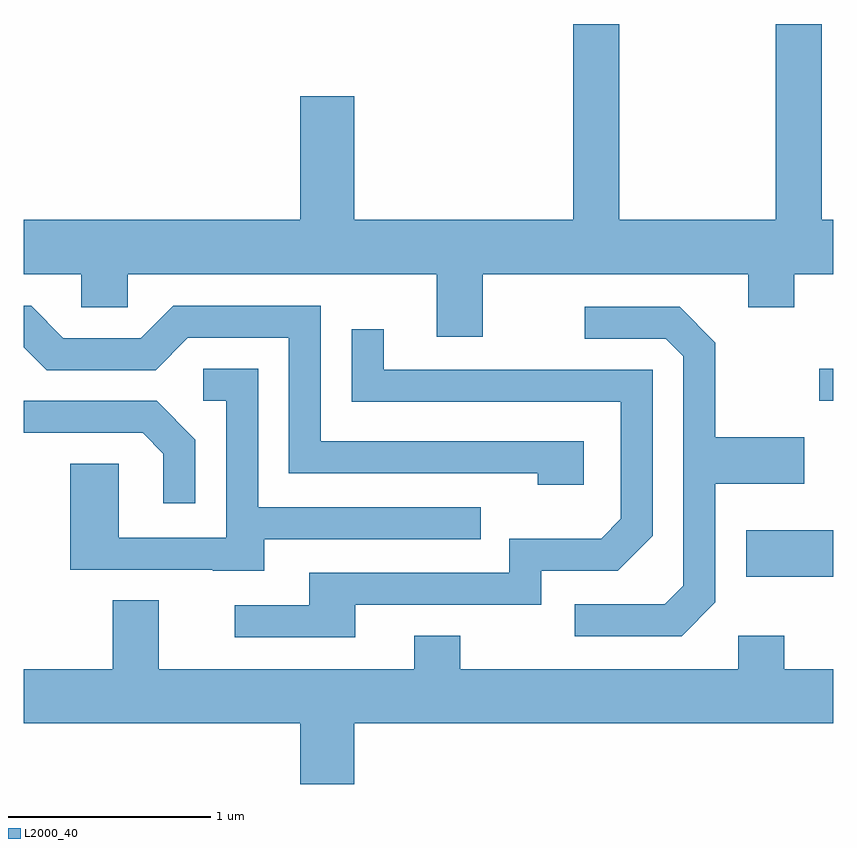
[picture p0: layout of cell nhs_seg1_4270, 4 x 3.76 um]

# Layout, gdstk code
import gdstk
lib = gdstk.Library(unit=1e-6, precision=1e-09)
def R(c, l, rs):  # rectangles x0, y0, x1, y1
    for r in rs: c.add(gdstk.rectangle(r[:2], r[2:], *l))
def P(c, l, *ps):  # polygons
    for p in ps: c.add(gdstk.Polygon(p, *l))
L2000_40 = (2000, 40)

nhs_seg1_4270 = lib.new_cell('nhs_seg1_4270')
R(nhs_seg1_4270, L2000_40, [(317.181,886.981,317.611,887.209), (317.543,887.851,317.611,888.009)])
P(nhs_seg1_4270, L2000_40, [(315.879,888.476),(317.191,888.476),(317.191,888.311),(317.419,888.311),(317.419,888.476),(317.611,888.476),(317.611,888.744),(317.554,888.744),(317.554,889.712),(317.326,889.712),(317.326,888.744),(316.554,888.744),(316.554,889.712),(316.326,889.712),(316.326,888.744),(315.244,888.744),(315.244,889.354),(314.976,889.354),(314.976,888.744),(313.611,888.744),(313.611,888.476),(313.896,888.476),(313.896,888.311),(314.124,888.311),(314.124,888.476),(315.651,888.476),(315.651,888.166),(315.879,888.166)],
  [(316.379,887.649),(315.079,887.649),(315.079,888.319),(314.349,888.319),(314.189,888.159),(313.807,888.159),(313.647,888.319),(313.611,888.319),(313.611,888.114),(313.724,888.001),(314.262,888.001),(314.422,888.161),(314.921,888.161),(314.921,887.491),(316.151,887.491),(316.151,887.436),(316.379,887.436)],
  [(317.029,886.854),(317.029,887.441),(317.469,887.441),(317.469,887.669),(317.029,887.669),(317.029,888.137),(316.852,888.314),(316.383,888.314),(316.383,888.156),(316.784,888.156),(316.871,888.069),(316.871,886.937),(316.779,886.844),(316.333,886.844),(316.333,886.686),(316.862,886.686)],
  [(315.249,886.841),(316.169,886.841),(316.169,887.011),(316.547,887.011),(316.719,887.184),(316.719,888.004),(315.389,888.004),(315.389,888.203),(315.231,888.203),(315.231,887.846),(316.561,887.846),(316.561,887.267),(316.464,887.169),(316.011,887.169),(316.011,886.999),(315.021,886.999),(315.021,886.839),(314.653,886.839),(314.653,886.681),(315.249,886.681)],
  [(314.799,887.166),(315.868,887.166),(315.868,887.324),(314.769,887.324),(314.769,888.009),(314.498,888.009),(314.498,887.851),(314.611,887.851),(314.611,887.174),(314.079,887.174),(314.079,887.539),(313.841,887.539),(313.841,887.016),(314.545,887.016),(314.545,887.011),(314.799,887.011)],
  [(314.459,887.657),(314.267,887.849),(313.611,887.849),(313.611,887.691),(314.199,887.691),(314.301,887.589),(314.301,887.343),(314.459,887.343)],
  [(315.244,886.256),(317.611,886.256),(317.611,886.524),(317.369,886.524),(317.369,886.689),(317.141,886.689),(317.141,886.524),(315.769,886.524),(315.769,886.689),(315.541,886.689),(315.541,886.524),(314.279,886.524),(314.279,886.864),(314.051,886.864),(314.051,886.524),(313.611,886.524),(313.611,886.256),(314.976,886.256),(314.976,885.956),(315.244,885.956)])

lib.write_gds('nhs_seg1_4270.gds')
